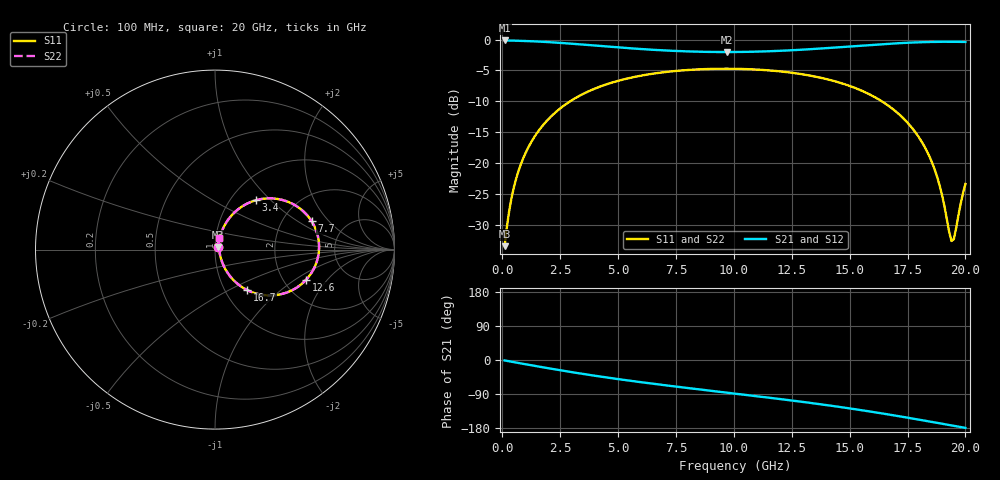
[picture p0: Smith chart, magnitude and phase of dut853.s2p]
! Touchstone file exported from HFSS 2026.1.0
!  File:  C:/ffzhzh/LocalFiles/Ansys_Project_Files/temp_train_TSV_RDL_853_1783269696_38704.aedt
!  Generated:  12:53:53 AM Jul  6, 2026
!  Design:  TSV_RDL
!  Project:  temp_train_TSV_RDL_853_1783269696_38704
! Variables:
!  h_bsmrdl = 3.48um
!  h_ox = 20um
!  h_rdl = 5um
!  h_sub = 81.93um
!  h_tmrdl = 3.44um
!  h_tsv = 81.93um
!  h_via = 3um
!  l_bsmrdl = 424.8um
!  l_sub = 2877.26um
!  l_tmrdl = 271.63um
!  m_sub = 200um
!  pitch = 52um
!  r_tsv = 4.97um
!  s_tmrdl = 10um
!  w_bsmrdl = 26.2um
!  w_sub = 500um
!  w_tmrdl = 12.58um
!  x_tsv_center1 = 277.92um
!  x_tsv_center2 = 728.92um
!  x_tsv_center3 = 1013.13um
!  x_tsv_center4 = 1464.13um
!  x_tsv_center5 = 1748.34um
!  x_tsv_center6 = 2199.34um
# GHz S MA R 50.000000
! Terminal data exported
! Port[1] = TM_RDL1_1_T1
! Port[2] = TM_RDL5_1_T1
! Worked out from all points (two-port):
!   200 points, 100 MHz to 20 GHz, reference 50 ohm
!   highest |S21| = -0.15 dB at 100 MHz (marker M1); lowest = -2.0 dB at 9.7 GHz (marker M2)
!   |S21| within 3 dB of the highest: start of sweep to end of sweep
!   lowest |S11| = -33.5 dB at 100 MHz (marker M3), VSWR 1.04, Z = 51.7 + j1.27 ohm
!   |S11| at or under -10 dB: start of sweep to 2.933 GHz; 16.39 GHz to end of sweep
!   |S22| runs from -33.5 to -4.7 dB; largest |S21 - S12| = 3e-14
!   S11 on the Smith chart (normalised r, x): 100 MHz: 1.03, +0.03; 3.4 GHz: 1.30, +0.81; 7.7 GHz: 2.88, +1.33; 12.6 GHz: 2.65, -1.24; 16.7 GHz: 1.27, -0.62; 20 GHz: 1.04, +0.13
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0.1  0.02121 35.2  0.9829 -1.2  0.9829 -1.2  0.02121 35.2
! Gamma 0 0 0 0
! Port Impedance 50 0 50 0
0.3  0.0412 60.7  0.9814 -3.4  0.9814 -3.4  0.0412 60.7
0.5  0.06356 67.2  0.9793 -5.7  0.9793 -5.7  0.06356 67.2
1.1  0.1311 69.0  0.9714 -12.3  0.9714 -12.3  0.1311 69.0
2.1  0.2377 62.0  0.9504 -22.9  0.9504 -22.9  0.2377 62.0
3.4  0.3555 50.5  0.9127 -35.9  0.9127 -35.9  0.3555 50.5
3.5  0.3634 49.7  0.9096 -36.9  0.9096 -36.9  0.3634 49.7
5  0.4629 36.9  0.8637 -50.4  0.8637 -50.4  0.4629 36.9
6.8  0.5384 22.9  0.8199 -64.9  0.8199 -64.9  0.5384 22.9
7.7  0.561 16.4  0.8052 -71.7  0.8052 -71.7  0.561 16.4
9.7  0.5802 2.4  0.792 -86.2  0.792 -86.2  0.5802 2.4
10.1  0.5793 -0.4  0.7926 -89.0  0.7926 -89.0  0.5793 -0.4
12.6  0.5352 -18.2  0.8205 -107.6  0.8205 -107.6  0.5352 -18.2
13.4  0.5059 -24.2  0.8373 -114.0  0.8373 -114.0  0.5059 -24.2
15.3  0.401 -39.6  0.8868 -130.4  0.8868 -130.4  0.401 -39.6
16.7  0.2888 -51.5  0.9242 -144.0  0.9242 -144.0  0.2888 -51.4
17.7  0.1919 -59.2  0.9453 -154.3  0.9453 -154.3  0.1919 -59.2
18.4  0.118 -62.2  0.9549 -161.8  0.9549 -161.8  0.118 -62.1
18.9  0.06449 -57.8  0.9584 -167.2  0.9584 -167.2  0.06456 -57.6
19.4  0.02336 -3.7  0.959 -172.6  0.959 -172.6  0.02357 -3.5
19.5  0.02419 22.7  0.9587 -173.7  0.9587 -173.7  0.0244 22.6
20  0.06759 69.6  0.9557 -179.2  0.9557 -179.2  0.06768 69.5
